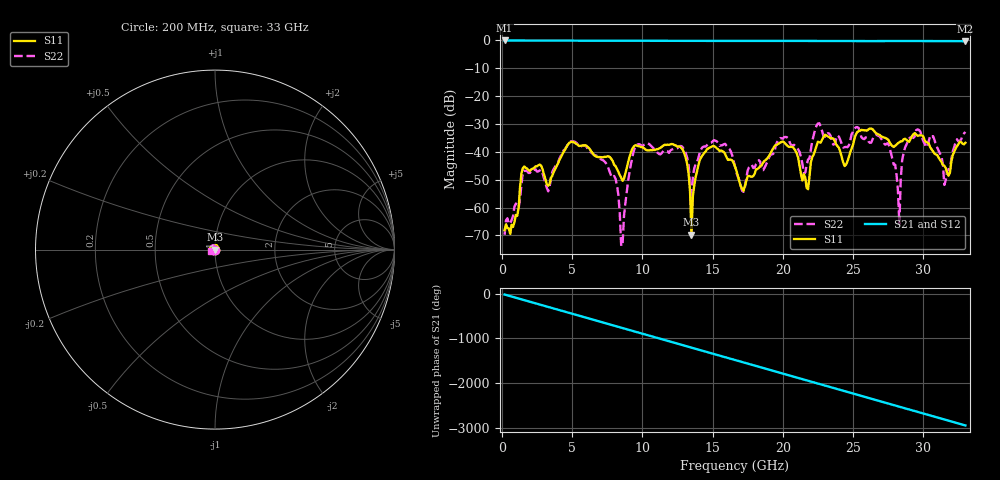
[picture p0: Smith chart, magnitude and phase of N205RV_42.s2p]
# GHZ S RI R 50
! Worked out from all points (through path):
!   329 points, 200 MHz to 33 GHz, reference 50 ohm
!   highest |S21| = -0.02 dB at 200 MHz (marker M1); lowest = -0.3 dB at 33 GHz (marker M2)
!   group delay of S21, straight-line fit = 248 ps
!   lowest |S11| = -69.7 dB at 13.5 GHz (marker M3), VSWR 1.00, Z = 50 - j0.0273 ohm
!   |S11| at or under -10 dB: start of sweep to end of sweep
!   |S22| runs from -73.8 to -29.7 dB; largest |S21 - S12| = 0.0019
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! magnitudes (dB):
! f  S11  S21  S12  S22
! 200 MHz  -68.1  0.0  0.0  -69.8
! 1.6 GHz  -45.2  0.0  0.0  -46.8
! 3.3 GHz  -52.2  -0.1  -0.1  -54.2
! 5.7 GHz  -37.8  -0.1  -0.1  -37.9
! 8.1 GHz  -45.2  -0.1  -0.1  -49.7
! 8.5 GHz  -49.3  -0.1  -0.1  -73.8
! 9.5 GHz  -37.6  -0.1  -0.1  -38.0
! 11.2 GHz  -38.8  -0.1  -0.1  -40.8
! 13 GHz  -40.7  -0.2  -0.2  -39.5
! 13.5 GHz  -69.7  -0.2  -0.2  -59.4
! 14.2 GHz  -41.9  -0.2  -0.2  -38.9
! 16.6 GHz  -45.2  -0.2  -0.2  -45.5
! 20 GHz  -36.3  -0.2  -0.2  -35.2
! 21.8 GHz  -53.4  -0.2  -0.2  -42.7
! 22.1 GHz  -41.9  -0.2  -0.2  -36.1
! 27.6 GHz  -36.5  -0.2  -0.2  -38.3
! 28.3 GHz  -36.5  -0.2  -0.2  -65.9
! 28.5 GHz  -36.2  -0.2  -0.2  -43.0
! 29 GHz  -36.4  -0.2  -0.2  -35.1
! 30.7 GHz  -39.8  -0.2  -0.2  -34.4
! 31.5 GHz  -45.0  -0.3  -0.2  -51.9
! 33 GHz  -36.7  -0.3  -0.3  -32.8
